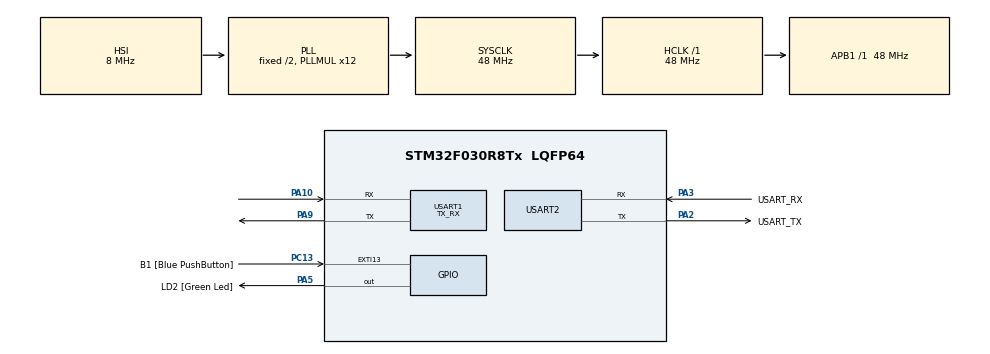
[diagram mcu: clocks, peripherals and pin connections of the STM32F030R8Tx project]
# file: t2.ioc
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Mcu.Family=STM32F0
Mcu.Name=STM32F030R8Tx
Mcu.Package=LQFP64
PA10.Mode=Asynchronous
PA10.Signal=USART1_RX
PA13.GPIO_Label=TMS
PA13.Mode=Serial_Wire
PA13.Signal=SYS_SWDIO
PA14.GPIO_Label=TCK
PA14.Mode=Serial_Wire
PA14.Signal=SYS_SWCLK
PA2.GPIO_Label=USART_TX
PA2.GPIO_Mode=GPIO_MODE_AF_PP
PA2.GPIO_ModeDefaultPP=GPIO_MODE_AF_PP
PA2.GPIO_PuPd=GPIO_NOPULL
PA2.GPIO_Speed=GPIO_SPEED_FREQ_LOW
PA2.Mode=Asynchronous
PA2.Signal=USART2_TX
PA3.GPIO_Label=USART_RX
PA3.GPIO_Mode=GPIO_MODE_AF_PP
PA3.GPIO_PuPd=GPIO_NOPULL
PA3.GPIO_Speed=GPIO_SPEED_FREQ_LOW
PA3.Mode=Asynchronous
PA3.Signal=USART2_RX
PA5.GPIO_Label=LD2 [Green Led]
PA5.GPIO_Mode=GPIO_MODE_OUTPUT_PP
PA5.GPIO_PuPd=GPIO_NOPULL
PA5.GPIO_Speed=GPIO_SPEED_FREQ_LOW
PA5.Signal=GPIO_Output
PA9.Mode=Asynchronous
PA9.Signal=USART1_TX
PC13.GPIO_Label=B1 [Blue PushButton]
PC13.GPIO_ModeDefaultEXTI=GPIO_MODE_IT_FALLING
PC13.Signal=GPXTI13
PC14-OSC32_IN.Mode=LSE-External-Oscillator
PC14-OSC32_IN.Signal=RCC_OSC32_IN
PC15-OSC32_OUT.Mode=LSE-External-Oscillator
PC15-OSC32_OUT.Signal=RCC_OSC32_OUT
PF0-OSC_IN.Mode=HSE-External-Clock-Source
PF0-OSC_IN.Signal=RCC_OSC_IN
PF1-OSC_OUT.Signal=RCC_OSC_OUT
ProjectManager.HeapSize=0x200
ProjectManager.StackSize=0x400
ProjectManager.TargetToolchain=STM32CubeIDE
RCC.AHBFreq_Value=48000000
RCC.APB1Freq_Value=48000000
RCC.APB1TimFreq_Value=48000000
RCC.HCLKFreq_Value=48000000
RCC.PLLMUL=RCC_PLL_MUL12
RCC.SYSCLKFreq_VALUE=48000000
RCC.SYSCLKSource=RCC_SYSCLKSOURCE_PLLCLK
USART1.Mode=MODE_TX_RX
USART1.VirtualMode-Asynchronous=VM_ASYNC
USART2.VirtualMode-Asynchronous=VM_ASYNC
board=NUCLEO-F030R8

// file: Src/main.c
/* USER CODE BEGIN Header */
/**
  ******************************************************************************
  * @file           : main.c
  * @brief          : Main program body
  ******************************************************************************
  * @attention
  *
  * Copyright (c) 2026 STMicroelectronics.
  * All rights reserved.
  *
  * This software is licensed under terms that can be found in the LICENSE file
  * in the root directory of this software component.
  * If no LICENSE file comes with this software, it is provided AS-IS.
  *
  ******************************************************************************
  */
/* USER CODE END Header */
#include "main.h"

/* USER CODE BEGIN Includes */
#include "serial_conn.h"
#include "heapsort.h"

/* USER CODE END Includes */

UART_HandleTypeDef huart1;
UART_HandleTypeDef huart2;

void SystemClock_Config(void);
static void MX_GPIO_Init(void);
static void MX_USART2_UART_Init(void);
static void MX_USART1_UART_Init(void);

int main(void)
{

  /* MCU Configuration--------------------------------------------------------*/

  /* Reset of all peripherals, Initializes the Flash interface and the Systick. */
  HAL_Init();

  /* Configure the system clock */
  SystemClock_Config();

  /* Initialize all configured peripherals */
  MX_GPIO_Init();
  MX_USART2_UART_Init();
  MX_USART1_UART_Init();
  /* USER CODE BEGIN 2 */
  uint16_t data[MAX_PACKET_SIZE];
  size_t size = 0;
  ReceiveStatus r_status;
  SendStatus s_status;

  /* USER CODE END 2 */

  /* Infinite loop */
  while (1)
  {

    /* USER CODE BEGIN 3 */
	r_status = receive_packet(&huart2, &size, (uint8_t *) data);
	if (r_status != RECEIVE_OK) {
		// send_msg(&huart2, (uint8_t) r_status);
		continue;
	}
	if (!heapsort_ordenar((int16_t *)data, size)) {
		// heapsort failed
		send_msg(&huart2, UNKNOWN_ERROR);
		continue;
	}
	// send ordered data
	s_status = send_packet(&huart2, size, (uint8_t *) data);
	if (s_status != SEND_OK)
		send_msg(&huart2, (uint8_t) s_status);
  }
  /* USER CODE END 3 */
}

void SystemClock_Config(void)
{
  RCC_OscInitTypeDef RCC_OscInitStruct = {0};
  RCC_ClkInitTypeDef RCC_ClkInitStruct = {0};
  RCC_PeriphCLKInitTypeDef PeriphClkInit = {0};

  /** Initializes the RCC Oscillators according to the specified parameters
  * in the RCC_OscInitTypeDef structure.
  */
  RCC_OscInitStruct.OscillatorType = RCC_OSCILLATORTYPE_HSI;
  RCC_OscInitStruct.HSIState = RCC_HSI_ON;
  RCC_OscInitStruct.HSICalibrationValue = RCC_HSICALIBRATION_DEFAULT;
  RCC_OscInitStruct.PLL.PLLState = RCC_PLL_ON;
  RCC_OscInitStruct.PLL.PLLSource = RCC_PLLSOURCE_HSI;
  RCC_OscInitStruct.PLL.PLLMUL = RCC_PLL_MUL12;
  RCC_OscInitStruct.PLL.PREDIV = RCC_PREDIV_DIV1;
  if (HAL_RCC_OscConfig(&RCC_OscInitStruct) != HAL_OK)
  {
    Error_Handler();
  }

  /** Initializes the CPU, AHB and APB buses clocks
  */
  RCC_ClkInitStruct.ClockType = RCC_CLOCKTYPE_HCLK|RCC_CLOCKTYPE_SYSCLK
                              |RCC_CLOCKTYPE_PCLK1;
  RCC_ClkInitStruct.SYSCLKSource = RCC_SYSCLKSOURCE_PLLCLK;
  RCC_ClkInitStruct.AHBCLKDivider = RCC_SYSCLK_DIV1;
  RCC_ClkInitStruct.APB1CLKDivider = RCC_HCLK_DIV1;

  if (HAL_RCC_ClockConfig(&RCC_ClkInitStruct, FLASH_LATENCY_1) != HAL_OK)
  {
    Error_Handler();
  }
  PeriphClkInit.PeriphClockSelection = RCC_PERIPHCLK_USART1;
  PeriphClkInit.Usart1ClockSelection = RCC_USART1CLKSOURCE_PCLK1;
  if (HAL_RCCEx_PeriphCLKConfig(&PeriphClkInit) != HAL_OK)
  {
    Error_Handler();
  }
}

static void MX_USART1_UART_Init(void)
{

  huart1.Instance = USART1;
  huart1.Init.BaudRate = 38400;
  huart1.Init.WordLength = UART_WORDLENGTH_8B;
  huart1.Init.StopBits = UART_STOPBITS_1;
  huart1.Init.Parity = UART_PARITY_NONE;
  huart1.Init.Mode = UART_MODE_TX_RX;
  huart1.Init.HwFlowCtl = UART_HWCONTROL_NONE;
  huart1.Init.OverSampling = UART_OVERSAMPLING_16;
  huart1.Init.OneBitSampling = UART_ONE_BIT_SAMPLE_DISABLE;
  huart1.AdvancedInit.AdvFeatureInit = UART_ADVFEATURE_NO_INIT;
  if (HAL_UART_Init(&huart1) != HAL_OK)
  {
    Error_Handler();
  }

}

static void MX_USART2_UART_Init(void)
{

  huart2.Instance = USART2;
  huart2.Init.BaudRate = 38400;
  huart2.Init.WordLength = UART_WORDLENGTH_8B;
  huart2.Init.StopBits = UART_STOPBITS_1;
  huart2.Init.Parity = UART_PARITY_NONE;
  huart2.Init.Mode = UART_MODE_TX_RX;
  huart2.Init.HwFlowCtl = UART_HWCONTROL_NONE;
  huart2.Init.OverSampling = UART_OVERSAMPLING_16;
  huart2.Init.OneBitSampling = UART_ONE_BIT_SAMPLE_DISABLE;
  huart2.AdvancedInit.AdvFeatureInit = UART_ADVFEATURE_NO_INIT;
  if (HAL_UART_Init(&huart2) != HAL_OK)
  {
    Error_Handler();
  }

}

static void MX_GPIO_Init(void)
{
  GPIO_InitTypeDef GPIO_InitStruct = {0};

  /* GPIO Ports Clock Enable */
  __HAL_RCC_GPIOC_CLK_ENABLE();
  __HAL_RCC_GPIOF_CLK_ENABLE();
  __HAL_RCC_GPIOA_CLK_ENABLE();

  /*Configure GPIO pin Output Level */
  HAL_GPIO_WritePin(LD2_GPIO_Port, LD2_Pin, GPIO_PIN_RESET);

  /*Configure GPIO pin : B1_Pin */
  GPIO_InitStruct.Pin = B1_Pin;
  GPIO_InitStruct.Mode = GPIO_MODE_IT_FALLING;
  GPIO_InitStruct.Pull = GPIO_NOPULL;
  HAL_GPIO_Init(B1_GPIO_Port, &GPIO_InitStruct);

  /*Configure GPIO pin : LD2_Pin */
  GPIO_InitStruct.Pin = LD2_Pin;
  GPIO_InitStruct.Mode = GPIO_MODE_OUTPUT_PP;
  GPIO_InitStruct.Pull = GPIO_NOPULL;
  GPIO_InitStruct.Speed = GPIO_SPEED_FREQ_LOW;
  HAL_GPIO_Init(LD2_GPIO_Port, &GPIO_InitStruct);

}

void Error_Handler(void)
{
  __disable_irq();
  while (1)
  {
  }
}
